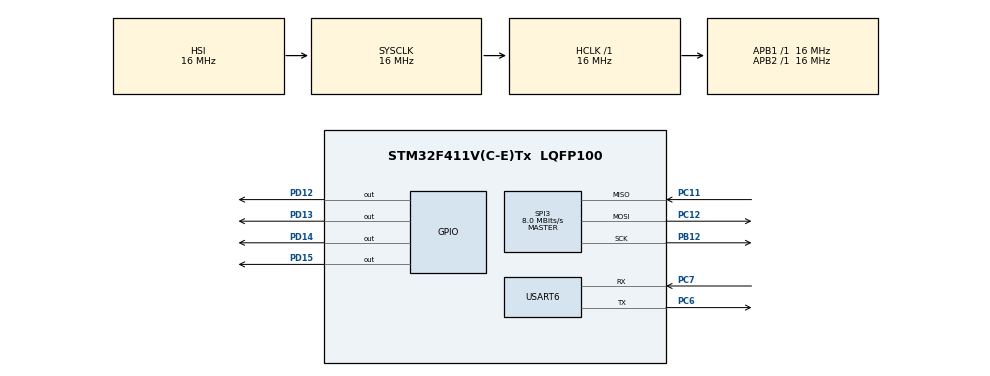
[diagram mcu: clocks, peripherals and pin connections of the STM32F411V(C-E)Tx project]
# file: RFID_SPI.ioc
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Mcu.Family=STM32F4
Mcu.Name=STM32F411V(C-E)Tx
Mcu.Package=LQFP100
NVIC.PriorityGroup=NVIC_PRIORITYGROUP_4
PA13.Mode=Serial_Wire
PA13.Signal=SYS_JTMS-SWDIO
PA14.Mode=Serial_Wire
PA14.Signal=SYS_JTCK-SWCLK
PB12.Mode=Full_Duplex_Master
PB12.Signal=SPI3_SCK
PC11.Mode=Full_Duplex_Master
PC11.Signal=SPI3_MISO
PC12.Mode=Full_Duplex_Master
PC12.Signal=SPI3_MOSI
PC6.Mode=Asynchronous
PC6.Signal=USART6_TX
PC7.Mode=Asynchronous
PC7.Signal=USART6_RX
PD12.Signal=GPIO_Output
PD13.Signal=GPIO_Output
PD14.Signal=GPIO_Output
PD15.Signal=GPIO_Output
ProjectManager.HeapSize=0x200
ProjectManager.StackSize=0x400
ProjectManager.TargetToolchain=STM32CubeIDE
RCC.48MHZClocksFreq_Value=50000000
RCC.AHBFreq_Value=16000000
RCC.APB1Freq_Value=16000000
RCC.APB1TimFreq_Value=16000000
RCC.APB2Freq_Value=16000000
RCC.APB2TimFreq_Value=16000000
RCC.CortexFreq_Value=16000000
RCC.HCLKFreq_Value=16000000
RCC.HSE_VALUE=8000000
RCC.HSI_VALUE=16000000
RCC.LSE_VALUE=32768
RCC.PLLM=4
RCC.PLLN=50
RCC.SYSCLKFreq_VALUE=16000000
RCC.VCOOutputFreq_Value=200000000
SPI3.CalculateBaudRate=8.0 MBits/s
SPI3.Direction=SPI_DIRECTION_2LINES
SPI3.Mode=SPI_MODE_MASTER
SPI3.VirtualType=VM_MASTER
USART6.VirtualMode=VM_ASYNC
board=custom

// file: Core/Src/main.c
/* USER CODE BEGIN Header */
/**
  ******************************************************************************
  * @file           : main.c
  * @brief          : Main program body
  ******************************************************************************
  * @attention
  *
  * Copyright (c) 2022 STMicroelectronics.
  * All rights reserved.
  *
  * This software is licensed under terms that can be found in the LICENSE file
  * in the root directory of this software component.
  * If no LICENSE file comes with this software, it is provided AS-IS.
  *
  ******************************************************************************
  */
/* USER CODE END Header */
#include "main.h"

/* USER CODE BEGIN Includes */
#include "stdio.h"
#include "string.h"
#include "rc522.h"
/* USER CODE END Includes */

 SPI_HandleTypeDef hspi3;

UART_HandleTypeDef huart6;

void SystemClock_Config(void);
static void MX_GPIO_Init(void);
static void MX_USART6_UART_Init(void);
static void MX_SPI3_Init(void);
/* USER CODE BEGIN PFP */
// RC522
uint8_t MFRC522_Check(uint8_t* id);
uint8_t MFRC522_Compare(uint8_t* CardID, uint8_t* CompareID);
void MFRC522_WriteRegister(uint8_t addr, uint8_t val);
uint8_t MFRC522_ReadRegister(uint8_t addr);
void MFRC522_SetBitMask(uint8_t reg, uint8_t mask);
void MFRC522_ClearBitMask(uint8_t reg, uint8_t mask);
uint8_t MFRC522_Request(uint8_t reqMode, uint8_t* TagType);
uint8_t MFRC522_ToCard(uint8_t command, uint8_t* sendData, uint8_t sendLen, uint8_t* backData, uint16_t* backLen);
uint8_t MFRC522_Anticoll(uint8_t* serNum);
void MFRC522_CalulateCRC(uint8_t* pIndata, uint8_t len, uint8_t* pOutData);
uint8_t MFRC522_SelectTag(uint8_t* serNum);
uint8_t MFRC522_Auth(uint8_t authMode, uint8_t BlockAddr, uint8_t* Sectorkey, uint8_t* serNum);
uint8_t MFRC522_Read(uint8_t blockAddr, uint8_t* recvData);
uint8_t MFRC522_Write(uint8_t blockAddr, uint8_t* writeData);
void MFRC522_Init(void);
void MFRC522_Reset(void);
void MFRC522_AntennaOn(void);
void MFRC522_AntennaOff(void);
void MFRC522_Halt(void);
/* USER CODE END PFP */

/* USER CODE BEGIN 0 */
unsigned char CardID[5];
unsigned char MyID[5] = { 0x13, 0x38, 0x6E, 0x0D, 0x48 };	//My card on my keys
uint8_t buffer[50] = {};
/* USER CODE END 0 */

int main(void)
{

  /* MCU Configuration--------------------------------------------------------*/

  /* Reset of all peripherals, Initializes the Flash interface and the Systick. */
  HAL_Init();

  /* Configure the system clock */
  SystemClock_Config();

  /* Initialize all configured peripherals */
  MX_GPIO_Init();
  MX_USART6_UART_Init();
  MX_SPI3_Init();
  /* USER CODE BEGIN 2 */
  MFRC522_Init();
  /* USER CODE END 2 */

  /* Infinite loop */
  /* USER CODE BEGIN WHILE */
  while (1)
  {
		if (MFRC522_Check(CardID) == MI_OK) {
			sprintf(buffer,"0x%X 0x%X 0x%X 0x%X 0x%X \n",CardID[0],CardID[1],CardID[2],CardID[3],CardID[4]);
			HAL_UART_Transmit(&huart6, buffer, strlen(buffer), 1000);
			HAL_Delay(100);
			if (MFRC522_Compare(CardID, MyID) == MI_OK) {
				HAL_UART_Transmit(&huart6, (uint8_t*) "\n correct\n", 11, 1000);
				HAL_GPIO_WritePin(GPIOD, GPIO_PIN_15, 1);
				HAL_GPIO_WritePin(GPIOD, GPIO_PIN_14, 0);
			} else {
				HAL_UART_Transmit(&huart6, (uint8_t*) " wrong\n", 9, 1000);
				HAL_GPIO_WritePin(GPIOD, GPIO_PIN_15, 0);
				HAL_GPIO_WritePin(GPIOD, GPIO_PIN_14, 1);
			}
		}
		HAL_Delay(500);
		HAL_GPIO_WritePin(GPIOD, GPIO_PIN_15, 0);
		HAL_GPIO_WritePin(GPIOD, GPIO_PIN_14, 0);
    /* USER CODE END WHILE */

  }
}

void SystemClock_Config(void)
{
  RCC_OscInitTypeDef RCC_OscInitStruct = {0};
  RCC_ClkInitTypeDef RCC_ClkInitStruct = {0};

  /** Configure the main internal regulator output voltage
  */
  __HAL_RCC_PWR_CLK_ENABLE();
  __HAL_PWR_VOLTAGESCALING_CONFIG(PWR_REGULATOR_VOLTAGE_SCALE1);

  /** Initializes the RCC Oscillators according to the specified parameters
  * in the RCC_OscInitTypeDef structure.
  */
  RCC_OscInitStruct.OscillatorType = RCC_OSCILLATORTYPE_HSI;
  RCC_OscInitStruct.HSIState = RCC_HSI_ON;
  RCC_OscInitStruct.HSICalibrationValue = RCC_HSICALIBRATION_DEFAULT;
  RCC_OscInitStruct.PLL.PLLState = RCC_PLL_NONE;
  if (HAL_RCC_OscConfig(&RCC_OscInitStruct) != HAL_OK)
  {
    Error_Handler();
  }

  /** Initializes the CPU, AHB and APB buses clocks
  */
  RCC_ClkInitStruct.ClockType = RCC_CLOCKTYPE_HCLK|RCC_CLOCKTYPE_SYSCLK
                              |RCC_CLOCKTYPE_PCLK1|RCC_CLOCKTYPE_PCLK2;
  RCC_ClkInitStruct.SYSCLKSource = RCC_SYSCLKSOURCE_HSI;
  RCC_ClkInitStruct.AHBCLKDivider = RCC_SYSCLK_DIV1;
  RCC_ClkInitStruct.APB1CLKDivider = RCC_HCLK_DIV1;
  RCC_ClkInitStruct.APB2CLKDivider = RCC_HCLK_DIV1;

  if (HAL_RCC_ClockConfig(&RCC_ClkInitStruct, FLASH_LATENCY_0) != HAL_OK)
  {
    Error_Handler();
  }
}

static void MX_SPI3_Init(void)
{

  /* SPI3 parameter configuration*/
  hspi3.Instance = SPI3;
  hspi3.Init.Mode = SPI_MODE_MASTER;
  hspi3.Init.Direction = SPI_DIRECTION_2LINES;
  hspi3.Init.DataSize = SPI_DATASIZE_8BIT;
  hspi3.Init.CLKPolarity = SPI_POLARITY_LOW;
  hspi3.Init.CLKPhase = SPI_PHASE_1EDGE;
  hspi3.Init.NSS = SPI_NSS_SOFT;
  hspi3.Init.BaudRatePrescaler = SPI_BAUDRATEPRESCALER_2;
  hspi3.Init.FirstBit = SPI_FIRSTBIT_MSB;
  hspi3.Init.TIMode = SPI_TIMODE_DISABLE;
  hspi3.Init.CRCCalculation = SPI_CRCCALCULATION_DISABLE;
  hspi3.Init.CRCPolynomial = 10;
  if (HAL_SPI_Init(&hspi3) != HAL_OK)
  {
    Error_Handler();
  }

}

static void MX_USART6_UART_Init(void)
{

  huart6.Instance = USART6;
  huart6.Init.BaudRate = 115200;
  huart6.Init.WordLength = UART_WORDLENGTH_8B;
  huart6.Init.StopBits = UART_STOPBITS_1;
  huart6.Init.Parity = UART_PARITY_NONE;
  huart6.Init.Mode = UART_MODE_TX_RX;
  huart6.Init.HwFlowCtl = UART_HWCONTROL_NONE;
  huart6.Init.OverSampling = UART_OVERSAMPLING_16;
  if (HAL_UART_Init(&huart6) != HAL_OK)
  {
    Error_Handler();
  }

}

static void MX_GPIO_Init(void)
{
  GPIO_InitTypeDef GPIO_InitStruct = {0};

  /* GPIO Ports Clock Enable */
  __HAL_RCC_GPIOB_CLK_ENABLE();
  __HAL_RCC_GPIOD_CLK_ENABLE();
  __HAL_RCC_GPIOC_CLK_ENABLE();
  __HAL_RCC_GPIOA_CLK_ENABLE();

  /*Configure GPIO pin Output Level */
  HAL_GPIO_WritePin(GPIOD, GPIO_PIN_12|GPIO_PIN_13|GPIO_PIN_14|GPIO_PIN_15, GPIO_PIN_RESET);

  /*Configure GPIO pins : PD12 PD13 PD14 PD15 */
  GPIO_InitStruct.Pin = GPIO_PIN_12|GPIO_PIN_13|GPIO_PIN_14|GPIO_PIN_15;
  GPIO_InitStruct.Mode = GPIO_MODE_OUTPUT_PP;
  GPIO_InitStruct.Pull = GPIO_NOPULL;
  GPIO_InitStruct.Speed = GPIO_SPEED_FREQ_LOW;
  HAL_GPIO_Init(GPIOD, &GPIO_InitStruct);

}

void Error_Handler(void)
{
  __disable_irq();
  while (1)
  {
  }
}
